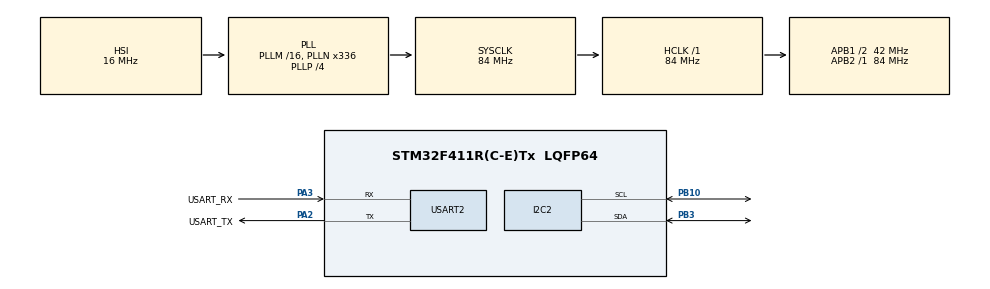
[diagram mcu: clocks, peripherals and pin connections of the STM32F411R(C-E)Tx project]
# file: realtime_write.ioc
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Mcu.Family=STM32F4
Mcu.Name=STM32F411R(C-E)Tx
Mcu.Package=LQFP64
NVIC.PriorityGroup=NVIC_PRIORITYGROUP_0
NVIC.USART2_IRQn=true\:0\:0\:false\:false\:true\:true\:true\:true
PA13.GPIO_Label=TMS
PA13.Signal=SYS_JTMS-SWDIO
PA14.GPIO_Label=TCK
PA14.Signal=SYS_JTCK-SWCLK
PA2.GPIO_Label=USART_TX
PA2.Mode=Asynchronous
PA2.Signal=USART2_TX
PA3.GPIO_Label=USART_RX
PA3.Mode=Asynchronous
PA3.Signal=USART2_RX
PB10.Mode=I2C
PB10.Signal=I2C2_SCL
PB3.Mode=I2C
PB3.Signal=I2C2_SDA
PC14-OSC32_IN.Signal=RCC_OSC32_IN
PC15-OSC32_OUT.Signal=RCC_OSC32_OUT
PH0\ -\ OSC_IN.Signal=RCC_OSC_IN
PH1\ -\ OSC_OUT.Signal=RCC_OSC_OUT
ProjectManager.HeapSize=0x200
ProjectManager.StackSize=0x400
ProjectManager.TargetToolchain=STM32CubeIDE
RCC.48MHZClocksFreq_Value=84000000
RCC.AHBFreq_Value=84000000
RCC.APB1CLKDivider=RCC_HCLK_DIV2
RCC.APB1Freq_Value=42000000
RCC.APB1TimFreq_Value=84000000
RCC.APB2Freq_Value=84000000
RCC.APB2TimFreq_Value=84000000
RCC.CortexFreq_Value=84000000
RCC.FLatency-AdvancedSettings=FLASH_LATENCY_2
RCC.HCLKFreq_Value=84000000
RCC.HSE_VALUE=8000000
RCC.HSI_VALUE=16000000
RCC.LSE_VALUE=32768
RCC.PLLN=336
RCC.PLLP=RCC_PLLP_DIV4
RCC.SYSCLKFreq_VALUE=84000000
RCC.SYSCLKSource=RCC_SYSCLKSOURCE_PLLCLK
RCC.VCOOutputFreq_Value=336000000
USART2.VirtualMode=VM_ASYNC
board=NUCLEO-F411RE

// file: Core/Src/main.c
/* USER CODE BEGIN Header */
/**
  ******************************************************************************
  * @file           : main.c
  * @brief          : Main program body
  ******************************************************************************
  * @attention
  *
  * Copyright (c) 2026 STMicroelectronics.
  * All rights reserved.
  *
  * This software is licensed under terms that can be found in the LICENSE file
  * in the root directory of this software component.
  * If no LICENSE file comes with this software, it is provided AS-IS.
  *
  ******************************************************************************
  */
/* USER CODE END Header */
#include "main.h"

/* USER CODE BEGIN Includes */
#include "ssd1306.h"
#include "ssd1306_fonts.h"
#include <stdio.h>
#include <string.h>

/* USER CODE END Includes */

I2C_HandleTypeDef hi2c2;
UART_HandleTypeDef huart2;

/* USER CODE BEGIN PV */
#define MAX_ROWS 20
#define MAX_COLS 18       // 128 piksel genişlik / 7 piksel font ~= 18 karakter
#define VISIBLE_ROWS 5

volatile uint8_t update_needed = 0;
char terminal_history[MAX_ROWS][MAX_COLS + 1];
int current_row = 0;
int current_col = 0;
int scroll_offset = 0;
uint8_t rx_byte;
/* USER CODE END PV */

void SystemClock_Config(void);
static void MX_GPIO_Init(void);
static void MX_I2C2_Init(void);
static void MX_USART2_UART_Init(void);

/* USER CODE BEGIN 0 */

// ANSI Kaçış Dizileri
const char* CLEAR_TERMINAL = "\033[2J\033[H";

void Refresh_All_Screens(void) {
    // 1. TERATERM GÜNCELLEME
    // Terminali temizle ve o anki görünür pencereyi (scroll_offset'ten itibaren) yazdır
    HAL_UART_Transmit(&huart2, (uint8_t*)CLEAR_TERMINAL, 7, 10);
    for (int i = 0; i < VISIBLE_ROWS; i++) {
        int line_idx = scroll_offset + i;
        if (line_idx < MAX_ROWS && terminal_history[line_idx][0] != '\0') {
            HAL_UART_Transmit(&huart2, (uint8_t*)terminal_history[line_idx], strlen(terminal_history[line_idx]), 10);
            HAL_UART_Transmit(&huart2, (uint8_t*)"\r\n", 2, 10);
        }
    }

    // 2. OLED GÜNCELLEME
    ssd1306_Fill(Black);
    for (int i = 0; i < VISIBLE_ROWS; i++) {
        int line_idx = scroll_offset + i;
        if (line_idx < MAX_ROWS) {
            ssd1306_SetCursor(0, i * 11);
            ssd1306_WriteString(terminal_history[line_idx], Font_7x10, White);
        }
    }
    ssd1306_UpdateScreen();
}

void Move_Last_Word_To_Next_Line(void) {
    if (current_row >= MAX_ROWS - 1) return;

    int i = current_col - 1;
    // Kelimenin başlangıcını bul (boşluğa kadar geri git)
    while (i >= 0 && terminal_history[current_row][i] != ' ') {
        i--;
    }
    i++; // Kelimenin ilk harfinin indeksi

    // Eğer satırın tamamı tek bir kelimeyse (hiç boşluk yoksa) bölmekten başka care yok
    if (i == 0) return;

    char temp_word[MAX_COLS];
    strcpy(temp_word, &terminal_history[current_row][i]);
    terminal_history[current_row][i] = '\0';

    current_row++;
    strcpy(terminal_history[current_row], temp_word);
    current_col = strlen(temp_word);
}
/* USER CODE END 0 */

int main(void)
{

  /* MCU Configuration--------------------------------------------------------*/

  /* Reset of all peripherals, Initializes the Flash interface and the Systick. */
  HAL_Init();

  /* Configure the system clock */
  SystemClock_Config();

  /* Initialize all configured peripherals */
  MX_GPIO_Init();
  MX_I2C2_Init();
  MX_USART2_UART_Init();
  /* USER CODE BEGIN 2 */
  ssd1306_Init();
  memset(terminal_history, 0, sizeof(terminal_history));
  ssd1306_Fill(Black);
  ssd1306_UpdateScreen();

  HAL_UART_Receive_IT(&huart2, &rx_byte, 1);
  /* USER CODE END 2 */

  /* Infinite loop */
  /* USER CODE BEGIN WHILE */
  while (1)
  {
	  if (update_needed) {
	          update_needed = 0;
	          Refresh_All_Screens();
	      }
    /* USER CODE END WHILE */

  }
}

void SystemClock_Config(void)
{
  RCC_OscInitTypeDef RCC_OscInitStruct = {0};
  RCC_ClkInitTypeDef RCC_ClkInitStruct = {0};

  /** Configure the main internal regulator output voltage
  */
  __HAL_RCC_PWR_CLK_ENABLE();
  __HAL_PWR_VOLTAGESCALING_CONFIG(PWR_REGULATOR_VOLTAGE_SCALE1);

  /** Initializes the RCC Oscillators according to the specified parameters
  * in the RCC_OscInitTypeDef structure.
  */
  RCC_OscInitStruct.OscillatorType = RCC_OSCILLATORTYPE_HSI;
  RCC_OscInitStruct.HSIState = RCC_HSI_ON;
  RCC_OscInitStruct.HSICalibrationValue = RCC_HSICALIBRATION_DEFAULT;
  RCC_OscInitStruct.PLL.PLLState = RCC_PLL_ON;
  RCC_OscInitStruct.PLL.PLLSource = RCC_PLLSOURCE_HSI;
  RCC_OscInitStruct.PLL.PLLM = 16;
  RCC_OscInitStruct.PLL.PLLN = 336;
  RCC_OscInitStruct.PLL.PLLP = RCC_PLLP_DIV4;
  RCC_OscInitStruct.PLL.PLLQ = 4;
  if (HAL_RCC_OscConfig(&RCC_OscInitStruct) != HAL_OK)
  {
    Error_Handler();
  }

  /** Initializes the CPU, AHB and APB buses clocks
  */
  RCC_ClkInitStruct.ClockType = RCC_CLOCKTYPE_HCLK|RCC_CLOCKTYPE_SYSCLK
                              |RCC_CLOCKTYPE_PCLK1|RCC_CLOCKTYPE_PCLK2;
  RCC_ClkInitStruct.SYSCLKSource = RCC_SYSCLKSOURCE_PLLCLK;
  RCC_ClkInitStruct.AHBCLKDivider = RCC_SYSCLK_DIV1;
  RCC_ClkInitStruct.APB1CLKDivider = RCC_HCLK_DIV2;
  RCC_ClkInitStruct.APB2CLKDivider = RCC_HCLK_DIV1;

  if (HAL_RCC_ClockConfig(&RCC_ClkInitStruct, FLASH_LATENCY_2) != HAL_OK)
  {
    Error_Handler();
  }
}

static void MX_I2C2_Init(void)
{

  hi2c2.Instance = I2C2;
  hi2c2.Init.ClockSpeed = 100000;
  hi2c2.Init.DutyCycle = I2C_DUTYCYCLE_2;
  hi2c2.Init.OwnAddress1 = 0;
  hi2c2.Init.AddressingMode = I2C_ADDRESSINGMODE_7BIT;
  hi2c2.Init.DualAddressMode = I2C_DUALADDRESS_DISABLE;
  hi2c2.Init.OwnAddress2 = 0;
  hi2c2.Init.GeneralCallMode = I2C_GENERALCALL_DISABLE;
  hi2c2.Init.NoStretchMode = I2C_NOSTRETCH_DISABLE;
  if (HAL_I2C_Init(&hi2c2) != HAL_OK)
  {
    Error_Handler();
  }

}

static void MX_USART2_UART_Init(void)
{

  huart2.Instance = USART2;
  huart2.Init.BaudRate = 115200;
  huart2.Init.WordLength = UART_WORDLENGTH_8B;
  huart2.Init.StopBits = UART_STOPBITS_1;
  huart2.Init.Parity = UART_PARITY_NONE;
  huart2.Init.Mode = UART_MODE_TX_RX;
  huart2.Init.HwFlowCtl = UART_HWCONTROL_NONE;
  huart2.Init.OverSampling = UART_OVERSAMPLING_16;
  if (HAL_UART_Init(&huart2) != HAL_OK)
  {
    Error_Handler();
  }

}

static void MX_GPIO_Init(void)
{

  /* GPIO Ports Clock Enable */
  __HAL_RCC_GPIOC_CLK_ENABLE();
  __HAL_RCC_GPIOH_CLK_ENABLE();
  __HAL_RCC_GPIOA_CLK_ENABLE();
  __HAL_RCC_GPIOB_CLK_ENABLE();

}

/* USER CODE BEGIN 4 */
void HAL_UART_RxCpltCallback(UART_HandleTypeDef *huart) {
    if (huart->Instance == USART2) {
        uint8_t is_processed = 1;

        // --- 1. SİLME İŞLEMİ (Backspace) ---
        if (rx_byte == 8 || rx_byte == 127) {
            if (current_col > 0) {
                current_col--;
                terminal_history[current_row][current_col] = '\0';
            }
            else if (current_row > 0) {
                current_row--;
                current_col = strlen(terminal_history[current_row]);
                if(current_col > 0) {
                    current_col--;
                    terminal_history[current_row][current_col] = '\0';
                }
            }
        }
        // --- 2. YENİ SATIR (Enter) ---
        else if (rx_byte == '\r') {
            if (current_row < MAX_ROWS - 1) {
                current_row++;
                current_col = 0;
            }
        }
        // --- 3. YUKARI KAYDIRMA (Komut: '+') ---
        else if (rx_byte == '+') {
            if (scroll_offset > 0) {
                scroll_offset--;
            }
        }
        // --- 4. AŞAĞI KAYDIRMA (Komut: '-') ---
        else if (rx_byte == '-') {
            if (scroll_offset < (MAX_ROWS - VISIBLE_ROWS) && (scroll_offset < current_row)) {
                scroll_offset++;
            }
        }
        // --- 5. METİN YAZMA (Word Wrap - Kelime Kaydırma) ---
        else if (rx_byte >= 32 && rx_byte <= 126) {
            // Eğer satır dolduysa
            if (current_col >= MAX_COLS) {
                if (rx_byte == ' ') {
                    // Boşluk geldiyse sadece alt satıra geç
                    if (current_row < MAX_ROWS - 1) {
                        current_row++;
                        current_col = 0;
                    }
                } else {
                    // Harf geldiyse kelimeyi aşağı kaydır
                    Move_Last_Word_To_Next_Line();

                    // Kaydırmadan sonra yeni karakteri güvenle ekle
                    if (current_col < MAX_COLS) {
                        terminal_history[current_row][current_col++] = (char)rx_byte;
                        terminal_history[current_row][current_col] = '\0';
                    }
                }
            } else {
                // Satır henüz dolmadıysa normal yaz
                terminal_history[current_row][current_col++] = (char)rx_byte;
                terminal_history[current_row][current_col] = '\0';
            }
        }
        else {
            is_processed = 0;
        }

        // --- OTOMATİK SCROLL (Yazarken Takip Et) ---
        if (rx_byte != '+' && rx_byte != '-' && is_processed) {
            if (current_row >= (scroll_offset + VISIBLE_ROWS)) {
                scroll_offset = current_row - VISIBLE_ROWS + 1;
            }
        }

        if (is_processed) {
            update_needed = 1;
        }

        HAL_UART_Receive_IT(&huart2, &rx_byte, 1);
    }
}
/* USER CODE END 4 */

void Error_Handler(void)
{
  __disable_irq();
  while (1)
  {
  }
}
